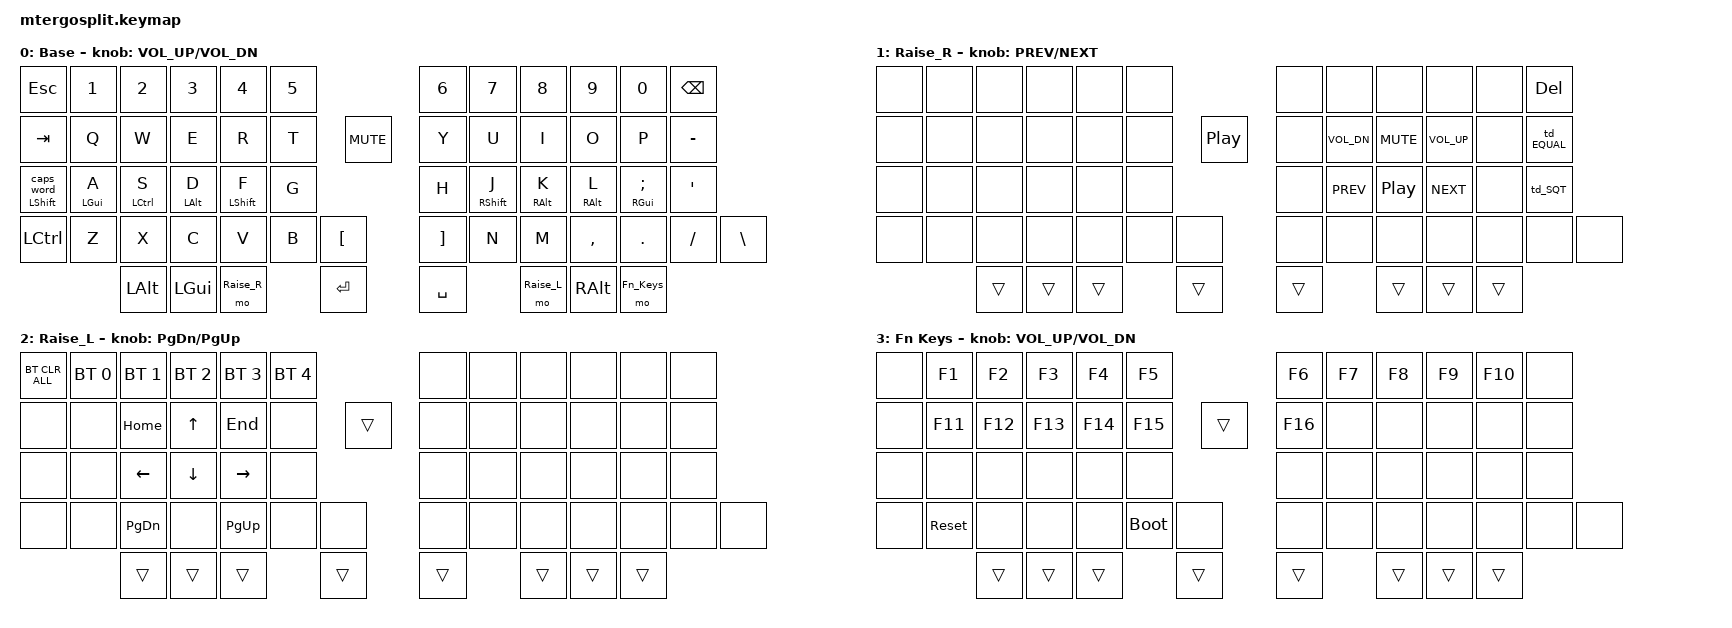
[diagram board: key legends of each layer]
/*
 * Copyright (c) 2020 The ZMK Contributors
 *
 * SPDX-License-Identifier: MIT
 */

#include <behaviors.dtsi>
#include <dt-bindings/zmk/keys.h>
#include <dt-bindings/zmk/bt.h>
#include <dt-bindings/zmk/ext_power.h>


#define Base     0
#define Raise_R  1
#define Raise_L  2
#define Fn_Keys  3


/ {

    behaviors {
        shift_caps: shift_caps {
            compatible = "zmk,behavior-hold-tap";
            #binding-cells = <2>;
            tapping-term-ms = <200>;
            bindings = <&kp>, <&caps_word>;
            flavor = "hold-preferred";
        };

        hml: home_row_mod_left {
            compatible = "zmk,behavior-hold-tap";
            #binding-cells = <2>;
            tapping-term-ms = <280>;
            quick-tap-ms = <175>;
            require-prior-idle-ms = <150>;
            flavor = "balanced";
            hold-trigger-on-release;
            hold-trigger-key-positions = <
                6 7 8 9 10 11
                18 19 20 21 22 23 24
                31 32 33 34 35 36
                44 45 46 47 48 49 50
                55 56 57 58
                >;
             bindings = <&kp>, <&kp>;   
        };

        hmr: home_row_mod_right {
            compatible = "zmk,behavior-hold-tap";
            #binding-cells = <2>;
            tapping-term-ms = <280>;
            quick-tap-ms = <175>;
            require-prior-idle-ms = <150>;
            flavor = "balanced";
            hold-trigger-on-release;
            hold-trigger-key-positions = <
                0 1 2 3 4 5
                12 13 14 15 16 17
                25 26 27 28 29 30
                37 38 39 40 41 42 43
                51 52 53 54
            >;
            bindings = <&kp>, <&kp>;
        };

        td_EQUAL: tap_dance_equal {
            compatible = "zmk,behavior-tap-dance";
            #binding-cells = <0>;
            tapping-term-ms = <200>;
            bindings = <&kp EQUAL>, <&kp PLUS>;
        };

        td_SQT: tap_dance_SQT {
            compatible = "zmk,behavior-tap-dance";
            #binding-cells = <0>;
            tapping-term-ms = <200>;
            bindings = <&kp SQT>, <&kp DQT>;
        };
    };


    keymap {
        compatible = "zmk,keymap";

    Base {
        // -- Left Side -------------------------------------------        -- Right Side -----------------------------------------------
        // |  ESC  |  1  |  2   |  3   |    4    |    5    |                        |   6    |   7    |  8    |  9     |   0   | BKSP  |
        // |  TAB  |  Q  |  W   |  E   |    R    |    T    |               | MUTE   |   Y    |   U    |  I    |  O     |   P   |   -   |
        // | SHIFT |  A  |  S   |  D   |    F    |    G    |                        |   H    |   J    |  K    |  L     |   ;   |   '   |
        // |  CTRL |  Z  |  X   |  C   |    V    |    B    |   "["         |  "]"   |   N    |   M    |  ,    |  .     |   /   | BSLH  |
        //               | ALT  | GUI  | RaiseR  |         |  ENTER  |     | SPACE  |        | RaiseL | ROPT  | FnKeys |

        display-name = "Base";
        bindings = <
        &kp ESC                   &kp N1        &kp N2         &kp N3        &kp N4         &kp N5                               &kp N6   &kp N7         &kp N8        &kp N9        &kp N0           &kp BSPC
        &kp TAB                   &kp Q         &kp W          &kp E         &kp R          &kp T                   &kp C_MUTE   &kp Y    &kp U          &kp I         &kp O         &kp P            &kp MINUS
        &shift_caps LSHFT 0       &hml LGUI A   &hml LCTRL S   &hml LALT D   &hml LSHFT F   &kp G                                &kp H    &hmr RSHFT J   &hmr RALT K   &hmr RALT L   &hmr RGUI SEMI   &kp SQT
        &kp LCTRL                 &kp Z         &kp X          &kp C         &kp V          &kp B      &kp LBKT     &kp RBKT     &kp N    &kp M          &kp COMMA     &kp DOT       &kp FSLH         &kp BSLH
                                                &kp LALT       &kp LGUI      &mo Raise_R               &kp RET      &kp SPACE             &mo Raise_L    &kp RALT      &mo Fn_Keys
        >;
            sensor-bindings = <&inc_dec_kp C_VOL_UP C_VOL_DN>;
        };

    Raise_R {

        display-name = "Raise_R";
        bindings = <
        &none  &none  &none   &none   &none   &none                           &none  &none         &none       &none         &none  &kp DEL
        &none  &none  &none   &none   &none   &none                 &kp C_PP  &none  &kp C_VOL_DN  &kp C_MUTE  &kp C_VOL_UP  &none  &td_EQUAL
        &none  &none  &none   &none   &none   &none                           &none  &kp C_PREV    &kp C_PP    &kp C_NEXT    &none  &td_SQT
        &none  &none  &none   &none   &none   &none  &none          &none     &none  &none         &none       &none         &none  &none
                      &trans  &trans  &trans         &trans         &trans           &trans        &trans      &trans
        >;
            sensor-bindings = <&inc_dec_kp C_PREV C_NEXT>;
        };

Raise_L {

        display-name = "Raise_L";
        bindings = <
        &bt BT_CLR_ALL  &bt BT_SEL 0  &bt BT_SEL 1   &bt BT_SEL 2   &bt BT_SEL 3  &bt BT_SEL 4                               &none  &none   &none   &none  &none  &none
        &none           &none         &kp HOME       &kp UP         &kp END       &none                            &trans    &none  &none   &none   &none  &none  &none
        &none           &none         &kp LEFT       &kp DOWN       &kp RIGHT     &none                                      &none  &none   &none   &none  &none  &none
        &none           &none         &kp PG_DN      &none          &kp PG_UP     &none         &none              &none     &none  &none   &none   &none  &none  &none
                                      &trans         &trans         &trans                      &trans             &trans           &trans  &trans  &trans
            >;
            sensor-bindings = <&inc_dec_kp PG_DN PG_UP>;
        };

    Fn_keys {

        display-name = "Fn Keys";
        bindings = <
        &none  &kp F1      &kp F2   &kp F3   &kp F4   &kp F5                            &kp F6   &kp F7  &kp F8  &kp F9  &kp F10  &none
        &none  &kp F11     &kp F12  &kp F13  &kp F14  &kp F15                   &trans  &kp F16  &none   &none   &none   &none    &none  
        &none  &none       &none    &none    &none    &none                             &none    &none   &none   &none   &none    &none
        &none  &sys_reset  &none    &none    &none    &bootloader  &none        &none   &none    &none   &none   &none   &none    &none
                           &trans   &trans   &trans                &trans       &trans           &trans  &trans  &trans
            >;
            sensor-bindings = <&inc_dec_kp C_VOL_UP C_VOL_DN>;
        };
    };
};
